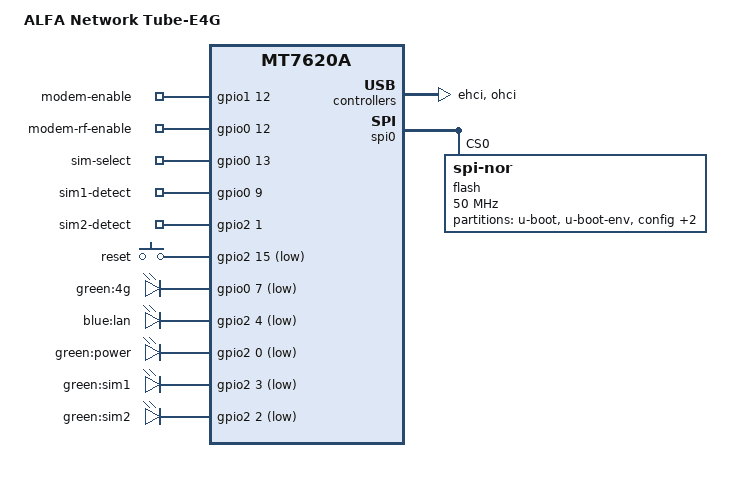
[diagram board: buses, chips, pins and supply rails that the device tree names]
// SPDX-License-Identifier: GPL-2.0-or-later OR MIT

#include "mt7620a.dtsi"

#include <dt-bindings/gpio/gpio.h>
#include <dt-bindings/input/input.h>

/ {
	compatible = "alfa-network,tube-e4g", "ralink,mt7620a-soc";
	model = "ALFA Network Tube-E4G";

	aliases {
		label-mac-device = &ethernet;
		led-boot = &power;
		led-failsafe = &power;
		led-running = &power;
		led-upgrade = &power;
	};

	chosen {
		bootargs = "console=ttyS0,115200";
	};

	gpio-export {
		compatible = "gpio-export";
		#size-cells = <0>;

		modem-enable {
			gpio-export,name = "modem-enable";
			gpio-export,output = <1>;
			gpios = <&gpio1 12 GPIO_ACTIVE_HIGH>;
		};

		modem-rf-enable {
			gpio-export,name = "modem-rf-enable";
			gpio-export,output = <1>;
			gpios = <&gpio0 12 GPIO_ACTIVE_HIGH>;
		};

		sim-select {
			gpio-export,name = "sim-select";
			gpio-export,output = <0>;
			gpios = <&gpio0 13 GPIO_ACTIVE_HIGH>;
		};

		sim1-detect {
			gpio-export,name = "sim1-detect";
			gpios = <&gpio0 9 GPIO_ACTIVE_HIGH>;
		};

		sim2-detect {
			gpio-export,name = "sim2-detect";
			gpios = <&gpio2 1 GPIO_ACTIVE_HIGH>;
		};
	};

	keys {
		compatible = "gpio-keys";

		reset {
			label = "reset";
			linux,code = <KEY_RESTART>;
			gpios = <&gpio2 15 GPIO_ACTIVE_LOW>;
			debounce-interval = <60>;
		};
	};

	leds {
		compatible = "gpio-leds";

		4g {
			label = "green:4g";
			gpios = <&gpio0 7 GPIO_ACTIVE_LOW>;
		};

		lan {
			label = "blue:lan";
			gpios = <&gpio2 4 GPIO_ACTIVE_LOW>;
		};

		power: power {
			label = "green:power";
			gpios = <&gpio2 0 GPIO_ACTIVE_LOW>;
			default-state = "keep";
		};

		sim1 {
			label = "green:sim1";
			gpios = <&gpio2 3 GPIO_ACTIVE_LOW>;
			default-state = "keep";
		};

		sim2 {
			label = "green:sim2";
			gpios = <&gpio2 2 GPIO_ACTIVE_LOW>;
			default-state = "keep";
		};
	};
};

&ehci {
	status = "okay";
};

&ethernet {
	mtd-mac-address = <&factory 0x28>;
};

&gpio1 {
	status = "okay";
};

&gpio2 {
	status = "okay";
};

&ohci {
	status = "okay";
};

&pcie {
	status = "disabled";
};

&state_default {
	gpio {
		groups = "ephy", "nd_sd", "pcie", "uartf";
		function = "gpio";
	};
};

&spi0 {
	status = "okay";

	flash@0 {
		compatible = "jedec,spi-nor";
		reg = <0>;
		spi-max-frequency = <50000000>;
		m25p,fast-read;

		partitions {
			compatible = "fixed-partitions";
			#address-cells = <1>;
			#size-cells = <1>;

			partition@0 {
				label = "u-boot";
				reg = <0x0 0x30000>;
				read-only;
			};

			partition@30000 {
				label = "u-boot-env";
				reg = <0x30000 0x1000>;
			};

			partition@31000 {
				label = "config";
				reg = <0x31000 0xf000>;
				read-only;
			};

			factory: partition@40000 {
				label = "factory";
				reg = <0x40000 0x10000>;
				read-only;
			};

			partition@50000 {
				compatible = "denx,uimage";
				label = "firmware";
				reg = <0x50000 0xfb0000>;
			};
		};
	};
};

&wmac {
	status = "disabled";
};
